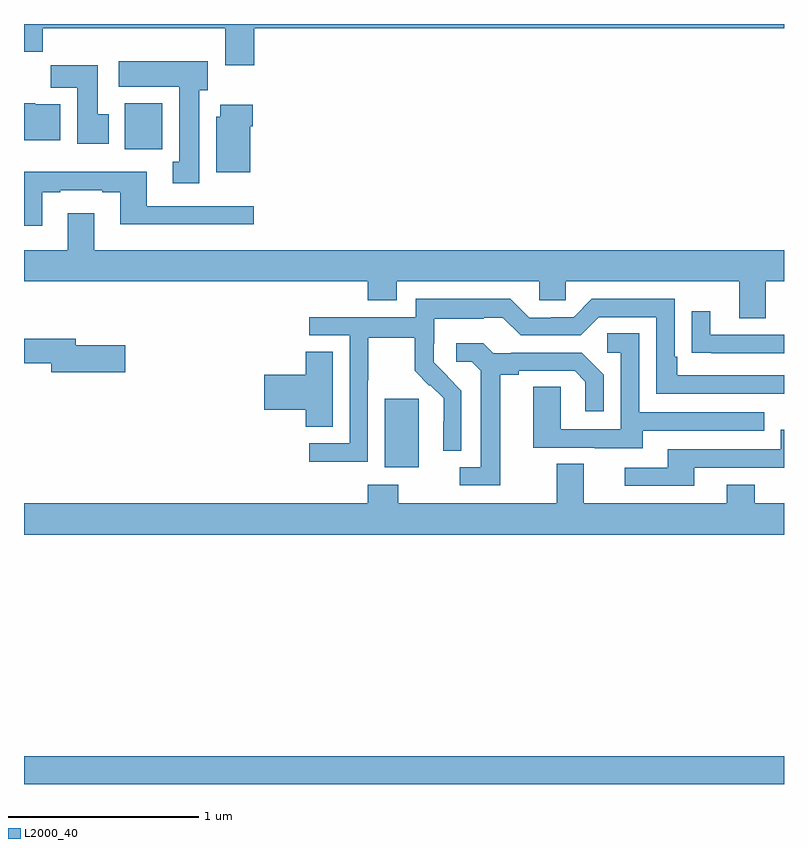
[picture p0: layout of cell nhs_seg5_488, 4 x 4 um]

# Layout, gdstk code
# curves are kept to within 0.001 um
import gdstk
lib = gdstk.Library(unit=1e-6, precision=1e-09)
def R(c, l, rs):  # rectangles x0, y0, x1, y1
    for r in rs: c.add(gdstk.rectangle(r[:2], r[2:], *l))
def P(c, l, *ps):  # polygons
    for p in ps: c.add(gdstk.Polygon(p, *l))
L2000_40 = (2000, 40)

nhs_seg5_488 = lib.new_cell('nhs_seg5_488')
R(nhs_seg5_488, L2000_40, [(143,836.799,147,836.944), (144.899,838.466,145.078,838.827), (143.531,840.14,143.728,840.382)])
P(nhs_seg5_488, L2000_40, [(144.212,840.776),(147,840.776),(147,840.799),(143,840.799),(143,840.652),(143.099,840.652),(143.099,840.776),(144.059,840.776),(144.059,840.582),(144.212,840.582)],
  [(143.923,840.45),(143.968,840.45),(143.968,840.604),(143.499,840.604),(143.499,840.47),(143.816,840.47),(143.816,840.074),(143.783,840.074),(143.783,839.961),(143.923,839.961)],
  [(143.446,840.324),(143.389,840.324),(143.389,840.583),(143.14,840.583),(143.14,840.464),(143.279,840.464),(143.279,840.168),(143.446,840.168)],
  [(143.191,840.376),(143.058,840.376),(143.058,840.382),(143,840.382),(143,840.188),(143.191,840.188)],
  [(144.19,840.26),(144.203,840.26),(144.203,840.373),(144.032,840.373),(144.032,840.312),(144.011,840.312),(144.011,840.02),(144.19,840.02)],
  [(143.095,839.913),(143.191,839.913),(143.191,839.925),(143.411,839.925),(143.411,839.913),(143.507,839.913),(143.507,839.744),(144.208,839.744),(144.208,839.841),(143.647,839.841),(143.647,840.022),(143,840.022),(143,839.736),(143.095,839.736)],
  [(146.905,839.444),(147,839.444),(147,839.608),(143.371,839.608),(143.371,839.803),(143.231,839.803),(143.231,839.608),(143,839.608),(143,839.444),(144.809,839.444),(144.809,839.345),(144.961,839.345),(144.961,839.444),(145.713,839.444),(145.713,839.346),(145.851,839.346),(145.851,839.444),(146.765,839.444),(146.765,839.25),(146.905,839.25)],
  [(144.81,838.924),(144.813,838.924),(144.813,839.148),(145.057,839.148),(145.057,838.973),(145.134,838.896),(145.137,838.899),(145.208,838.829),(145.208,838.706),(145.206,838.706),(145.206,838.552),(145.302,838.552),(145.302,838.87),(145.156,839.018),(145.156,839.115),(145.158,839.115),(145.158,839.249),(145.421,839.249),(145.421,839.253),(145.521,839.253),(145.614,839.16),(145.929,839.16),(146.025,839.256),(146.328,839.256),(146.328,838.854),(147,838.854),(147,838.95),(146.437,838.95),(146.437,839.047),(146.424,839.047),(146.424,839.352),(145.989,839.352),(145.893,839.256),(145.775,839.256),(145.775,839.253),(145.659,839.253),(145.559,839.353),(145.062,839.353),(145.062,839.256),(144.501,839.256),(144.501,839.16),(144.714,839.16),(144.714,838.593),(144.501,838.593),(144.501,838.495),(144.81,838.495)],
  [(147,839.163),(146.611,839.163),(146.611,839.287),(146.515,839.287),(146.515,839.068),(146.617,839.068),(146.617,839.067),(147,839.067)],
  [(146.257,838.659),(146.897,838.659),(146.897,838.755),(146.238,838.755),(146.238,839.171),(146.07,839.171),(146.07,839.07),(146.142,839.07),(146.142,838.665),(145.824,838.665),(145.824,838.889),(145.679,838.889),(145.679,838.569),(146.003,838.569),(146.003,838.565),(146.257,838.565)],
  [(143.533,839.109),(143.272,839.109),(143.272,839.143),(143,839.143),(143,839.014),(143.144,839.014),(143.144,838.967),(143.533,838.967)],
  [(145.507,838.952),(145.603,838.952),(145.603,838.974),(145.898,838.974),(145.955,838.917),(145.955,838.761),(146.052,838.761),(146.052,838.954),(145.936,839.07),(145.564,839.07),(145.564,839.067),(145.47,839.067),(145.418,839.119),(145.275,839.119),(145.275,839.022),(145.356,839.022),(145.403,838.975),(145.403,838.467),(145.293,838.467),(145.293,838.371),(145.507,838.371)],
  [(144.625,839.075),(144.482,839.075),(144.482,838.952),(144.264,838.952),(144.264,838.769),(144.482,838.769),(144.482,838.678),(144.625,838.678)],
  [(146.527,838.464),(147,838.464),(147,838.663),(146.982,838.663),(146.982,838.56),(146.387,838.56),(146.387,838.464),(146.163,838.464),(146.163,838.368),(146.527,838.368)],
  [(147,838.276),(146.847,838.276),(146.847,838.375),(146.699,838.375),(146.699,838.276),(145.945,838.276),(145.945,838.484),(145.805,838.484),(145.805,838.276),(144.969,838.276),(144.969,838.375),(144.809,838.375),(144.809,838.276),(143,838.276),(143,838.112),(147,838.112)])

lib.write_gds('nhs_seg5_488.gds')
